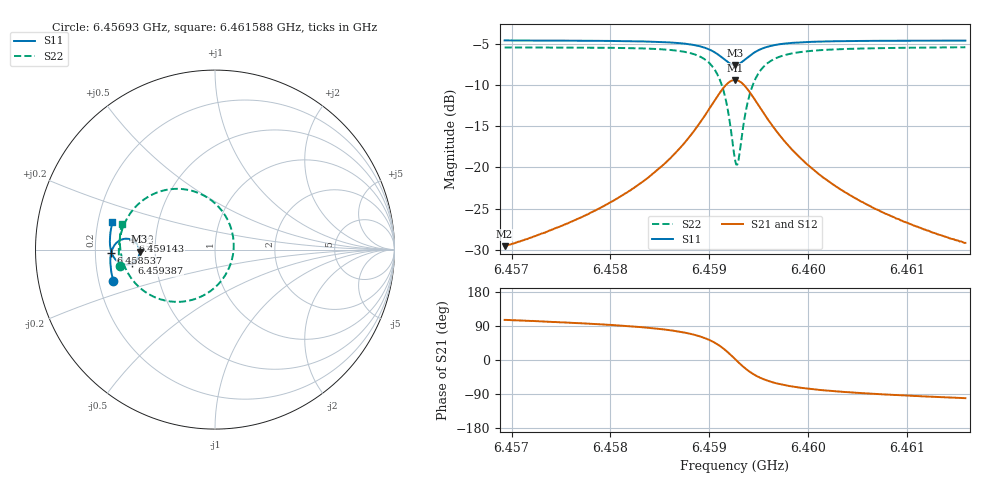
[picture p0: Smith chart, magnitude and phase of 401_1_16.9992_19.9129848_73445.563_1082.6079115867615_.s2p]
#  HZ  S  RI  R  50.00
! Rohde & Schwarz Vector Network Analyzer
! Rohde-Schwarz,ZNB20-2Port,1311601062101988,3.16
! Created: UTC 3/20/2024, 11:10:02 PM
! freq[Hz]  re:S11  im:S11  re:S21  im:S21  re:S12  im:S12  re:S22  im:S22
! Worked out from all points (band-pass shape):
!   401 points, 6.45693 GHz to 6.461588 GHz, reference 50 ohm
!   highest |S21| = -9.36 dB at 6.459259 GHz (marker M1); lowest = -29.6 dB at 6.45693 GHz (marker M2)
!   |S21| within 3 dB of the highest: 6.459026 GHz to 6.459492 GHz (465.9 kHz wide, 0.00721 % of centre)
!   lowest |S11| = -7.5 dB at 6.459259 GHz (marker M3), VSWR 2.45, Z = 20.4 - j0.553 ohm
!   |S11| at or under -10 dB: nowhere
!   |S22| runs from -19.7 to -5.4 dB; largest |S21 - S12| = 0.013
!   S11 on the Smith chart (normalised r, x): 6.45693 GHz: 0.26, -0.14; 6.458537 GHz: 0.27, -0.01; 6.459143 GHz: 0.37, +0.05; 6.459387 GHz: 0.37, -0.07; 6.461588 GHz: 0.26, +0.12
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6.4569298e9  -0.5657 -0.1759  -0.00905 0.0319  -0.00733 0.0318  -0.5294 -0.0888
6.4577101e9  -0.5802 -0.108  -0.0059 0.0495  -0.00352 0.049  -0.5359 0.00127
6.458176e9  -0.5834 -0.0613  0.000592 0.071  0.00407 0.0696  -0.527 0.075
6.4584904e9  -0.5799 -0.0236  0.0134 0.0973  0.0172 0.0948  -0.5038 0.146
6.458537e9  -0.5785 -0.0173  0.0166 0.1027  0.0208 0.0998  -0.4977 0.1591
6.4587466e9  -0.5665 0.0145  0.0424 0.1342  0.0465 0.1295  -0.4499 0.2303
6.458898e9  -0.5456 0.0406  0.0843 0.1641  0.0877 0.1578  -0.3726 0.2942
6.4590494e9  -0.4999 0.0605  0.175 0.1833  0.176 0.1759  -0.2071 0.3386
6.4591426e9  -0.456 0.0507  0.2638 0.153  0.264 0.1471  -0.0428 0.2902
6.4591892e9  -0.4351 0.0322  0.307 0.1108  0.3082 0.1055  0.0392 0.2154
6.459259e9  -0.4203 -0.0112  0.3402 0.0155  0.3436 0.00863  0.1041 0.039
6.4592707e9  -0.4207 -0.0191  0.3401 -0.00205  0.3438 -0.00955  0.1041 0.00574
6.459294e9  -0.4241 -0.0345  0.3348 -0.0364  0.3384 -0.0452  0.0934 -0.0591
6.4593872e9  -0.4611 -0.0761  0.2656 -0.1361  0.2647 -0.149  -0.0458 -0.2449
6.4594337e9  -0.4837 -0.0829  0.2219 -0.1585  0.2182 -0.171  -0.1332 -0.2816
6.459492e9  -0.5085 -0.0821  0.1732 -0.168  0.1668 -0.1787  -0.2291 -0.2906
6.4596434e9  -0.5495 -0.0605  0.0911 -0.152  0.0829 -0.1578  -0.385 -0.2382
6.4598064e9  -0.5696 -0.033  0.0489 -0.1249  0.0416 -0.1275  -0.4602 -0.1681
6.4600393e9  -0.5812 0.000675  0.0223 -0.0957  0.0166 -0.0963  -0.5043 -0.0913
6.460412e9  -0.5857 0.0443  0.00591 -0.0681  0.0018 -0.0676  -0.5264 -0.00879
6.4608196e9  -0.5836 0.0848  -0.0013 -0.0512  -0.00428 -0.0502  -0.53 0.055
6.4615883e9  -0.5712 0.1527  -0.00647 -0.0341  -0.00805 -0.0332  -0.5188 0.1447
